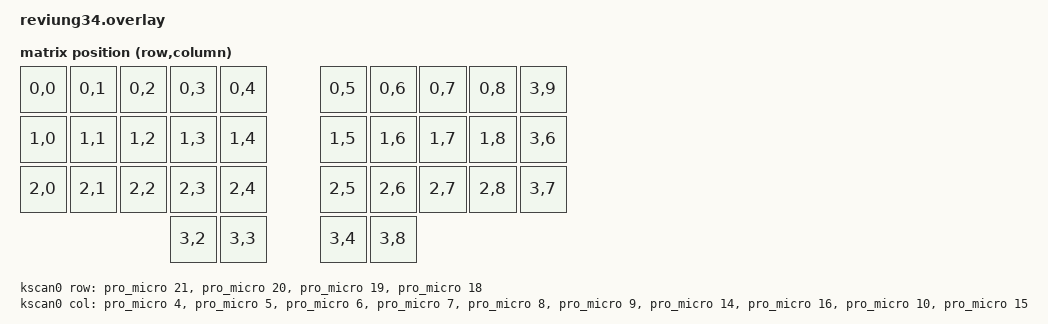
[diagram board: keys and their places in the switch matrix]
/*
 * Copyright (c) 2020 The ZMK Contributors
 *
 * SPDX-License-Identifier: MIT
 */

#include <dt-bindings/zmk/matrix_transform.h>

/ {
    chosen {
        zmk,kscan = &kscan0;
        zmk,matrix_transform = &default_transform;
    };

    default_transform: keymap_transform_0 {
        compatible = "zmk,matrix-transform";
        columns = <10>;
        rows = <4>;

        map = <
RC(0,0) RC(0,1) RC(0,2) RC(0,3) RC(0,4) RC(0,5) RC(0,6) RC(0,7) RC(0,8) RC(3,9) 
RC(1,0) RC(1,1) RC(1,2) RC(1,3) RC(1,4) RC(1,5) RC(1,6) RC(1,7) RC(1,8) RC(3,6) 
RC(2,0) RC(2,1) RC(2,2) RC(2,3) RC(2,4) RC(2,5) RC(2,6) RC(2,7) RC(2,8) RC(3,7) 
                        RC(3,2) RC(3,3) RC(3,4) RC(3,8)
        >;
    };

    kscan0: kscan_0 {
        compatible = "zmk,kscan-gpio-matrix";
        label = "KSCAN";
        diode-direction = "col2row";

        col-gpios
            = <&pro_micro 4  GPIO_ACTIVE_HIGH>
            , <&pro_micro 5  GPIO_ACTIVE_HIGH>
            , <&pro_micro 6  GPIO_ACTIVE_HIGH>
            , <&pro_micro 7  GPIO_ACTIVE_HIGH>
            , <&pro_micro 8  GPIO_ACTIVE_HIGH>
            , <&pro_micro 9  GPIO_ACTIVE_HIGH>
            , <&pro_micro 14 GPIO_ACTIVE_HIGH>
            , <&pro_micro 16 GPIO_ACTIVE_HIGH>
            , <&pro_micro 10 GPIO_ACTIVE_HIGH>
            , <&pro_micro 15 GPIO_ACTIVE_HIGH>
            ;

        row-gpios
            = <&pro_micro 21 (GPIO_ACTIVE_HIGH | GPIO_PULL_DOWN)>
            , <&pro_micro 20 (GPIO_ACTIVE_HIGH | GPIO_PULL_DOWN)>
            , <&pro_micro 19 (GPIO_ACTIVE_HIGH | GPIO_PULL_DOWN)>
            , <&pro_micro 18 (GPIO_ACTIVE_HIGH | GPIO_PULL_DOWN)>
            ;
    };
};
